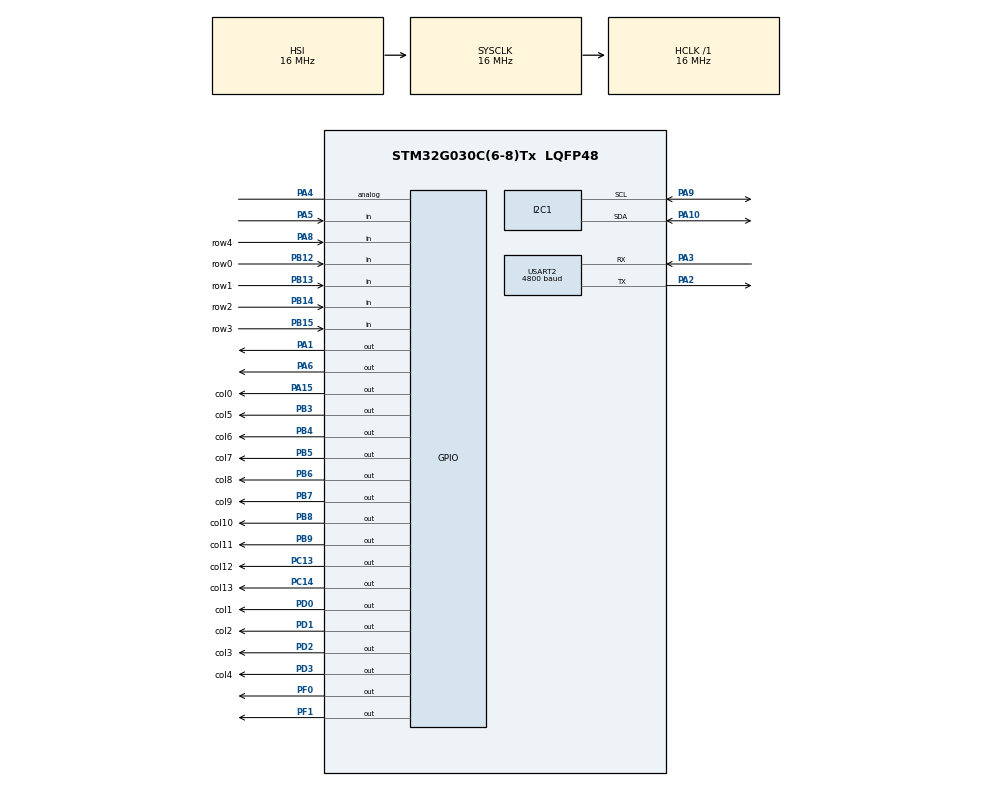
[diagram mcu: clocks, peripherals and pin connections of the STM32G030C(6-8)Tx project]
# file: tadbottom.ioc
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Mcu.Family=STM32G0
Mcu.Name=STM32G030C(6-8)Tx
Mcu.Package=LQFP48
PA1.Signal=GPIO_Output
PA10.GPIO_Pu=GPIO_PULLUP
PA10.Mode=I2C
PA10.Signal=I2C1_SDA
PA13.Mode=Serial_Wire
PA13.Signal=SYS_SWDIO
PA14-BOOT0.Mode=Serial_Wire
PA14-BOOT0.Signal=SYS_SWCLK
PA15.GPIO_Label=col0
PA15.Signal=GPIO_Output
PA2.Mode=Asynchronous
PA2.Signal=USART2_TX
PA3.Mode=Asynchronous
PA3.Signal=USART2_RX
PA4.Signal=GPIO_Analog
PA5.GPIO_PuPd=GPIO_PULLUP
PA5.Signal=GPIO_Input
PA6.Signal=GPIO_Output
PA8.GPIO_Label=row4
PA8.GPIO_PuPd=GPIO_PULLDOWN
PA8.Signal=GPIO_Input
PA9.GPIO_Pu=GPIO_PULLUP
PA9.Mode=I2C
PA9.Signal=I2C1_SCL
PB12.GPIO_Label=row0
PB12.GPIO_PuPd=GPIO_PULLDOWN
PB12.Signal=GPIO_Input
PB13.GPIO_Label=row1
PB13.GPIO_PuPd=GPIO_PULLDOWN
PB13.Signal=GPIO_Input
PB14.GPIO_Label=row2
PB14.GPIO_PuPd=GPIO_PULLDOWN
PB14.Signal=GPIO_Input
PB15.GPIO_Label=row3
PB15.GPIO_PuPd=GPIO_PULLDOWN
PB15.Signal=GPIO_Input
PB3.GPIO_Label=col5
PB3.Signal=GPIO_Output
PB4.GPIO_Label=col6
PB4.Signal=GPIO_Output
PB5.GPIO_Label=col7
PB5.Signal=GPIO_Output
PB6.GPIO_Label=col8
PB6.Signal=GPIO_Output
PB7.GPIO_Label=col9
PB7.Signal=GPIO_Output
PB8.GPIO_Label=col10
PB8.Signal=GPIO_Output
PB9.GPIO_Label=col11
PB9.Signal=GPIO_Output
PC13.GPIO_Label=col12
PC13.Signal=GPIO_Output
PC14-OSC32_IN\ (PC14).GPIO_Label=col13
PC14-OSC32_IN\ (PC14).Signal=GPIO_Output
PD0.GPIO_Label=col1
PD0.Signal=GPIO_Output
PD1.GPIO_Label=col2
PD1.Signal=GPIO_Output
PD2.GPIO_Label=col3
PD2.Signal=GPIO_Output
PD3.GPIO_Label=col4
PD3.Signal=GPIO_Output
PF0-OSC_IN\ (PF0).Signal=GPIO_Output
PF1-OSC_OUT\ (PF1).Signal=GPIO_Output
ProjectManager.HeapSize=0x200
ProjectManager.StackSize=0x400
ProjectManager.TargetToolchain=STM32CubeIDE
RCC.AHBFreq_Value=16000000
RCC.CortexFreq_Value=16000000
RCC.EXTERNAL_CLOCK_VALUE=12288000
RCC.HCLKFreq_Value=16000000
RCC.HSE_VALUE=8000000
RCC.HSI_VALUE=16000000
RCC.LSE_VALUE=32768
RCC.SYSCLKFreq_VALUE=16000000
RCC.VCOOutputFreq_Value=128000000
TIM1.Prescaler=0
USART2.BaudRate=4800
USART2.SwapParam=ADVFEATURE_SWAP_DISABLE
USART2.VirtualMode-Asynchronous=VM_ASYNC
VP_TIM1_VS_ClockSourceINT.Mode=Internal
board=custom

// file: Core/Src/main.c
/* USER CODE BEGIN Header */
/**
  ******************************************************************************
  * @file           : main.c
  * @brief          : Main program body
  ******************************************************************************
  * @attention
  *
  * <h2><center>&copy; Copyright (c) 2021 STMicroelectronics.
  * All rights reserved.</center></h2>
  *
  * This software component is licensed by ST under BSD 3-Clause license,
  * the "License"; You may not use this file except in compliance with the
  * License. You may obtain a copy of the License at:
  *                        opensource.org/licenses/BSD-3-Clause
  *
  ******************************************************************************
  */
/* USER CODE END Header */
#include "main.h"

/* USER CODE BEGIN Includes */
#include <stdio.h>
#include <string.h>
#include <math.h>
/* USER CODE END Includes */

/* USER CODE BEGIN PD */
#define kbcols 14
#define kbrows 5

#define BYTE_TO_BINARY_PATTERN "%c%c%c%c%c%c%c%c"
#define BYTE_TO_BINARY(byte)  \
  (byte & 0x80 ? '1' : '0'), \
  (byte & 0x40 ? '1' : '0'), \
  (byte & 0x20 ? '1' : '0'), \
  (byte & 0x10 ? '1' : '0'), \
  (byte & 0x08 ? '1' : '0'), \
  (byte & 0x04 ? '1' : '0'), \
  (byte & 0x02 ? '1' : '0'), \
  (byte & 0x01 ? '1' : '0')
/* USER CODE END PD */

 I2C_HandleTypeDef hi2c1;

TIM_HandleTypeDef htim1;

UART_HandleTypeDef huart2;

/* USER CODE BEGIN PV */
uint16_t kb_col[kbcols]={col0_Pin,col1_Pin,col2_Pin,col3_Pin,col4_Pin,col5_Pin,col6_Pin,col7_Pin,col8_Pin,col9_Pin,col10_Pin,col11_Pin,col12_Pin,col13_Pin};
GPIO_TypeDef* kb_col_port[kbcols]={col0_GPIO_Port,col1_GPIO_Port,col2_GPIO_Port,col3_GPIO_Port,col4_GPIO_Port,col5_GPIO_Port,col6_GPIO_Port,col7_GPIO_Port,col8_GPIO_Port,col9_GPIO_Port,col10_GPIO_Port,col11_GPIO_Port,col12_GPIO_Port,col13_GPIO_Port};
uint16_t kb_row[kbrows]={row0_Pin,row1_Pin,row2_Pin,row3_Pin,row4_Pin};
GPIO_TypeDef* kb_row_port[kbrows]={row0_GPIO_Port,row1_GPIO_Port,row2_GPIO_Port,row3_GPIO_Port,row4_GPIO_Port};

uint8_t kb_state[kbcols][kbrows] = {0};
uint8_t kb_laststate[kbcols][kbrows] = {0};
uint8_t kb_pushed[kbcols][kbrows] = {0};
uint8_t kb_released[kbcols][kbrows] = {0};
/* USER CODE END PV */

void SystemClock_Config(void);
static void MX_GPIO_Init(void);
static void MX_TIM1_Init(void);
static void MX_I2C1_Init(void);
static void MX_USART2_UART_Init(void);
/* USER CODE BEGIN PFP */
void print_adc();
/* USER CODE END PFP */

/* USER CODE BEGIN 0 */
void delay_us (uint16_t us)
{
	__HAL_TIM_SET_COUNTER(&htim1,0);  // set the counter value a 0
	while (__HAL_TIM_GET_COUNTER(&htim1) < us);  // wait for the counter to reach the us input in the parameter
}

void read_keys(int report){
	int i = 0;
	uint8_t MSG[16];
	while(i<kbcols){
		int j = 0;
		HAL_GPIO_WritePin(kb_col_port[i], kb_col[i], 1);
		while(j<kbrows){
			kb_laststate[i][j] = kb_state[i][j];
			kb_state[i][j] = HAL_GPIO_ReadPin(kb_row_port[j], kb_row[j]);
			if(kb_laststate[i][j] != kb_state[i][j] && kb_state[i][j]==1) {
				kb_pushed[i][j]=1;
				memset(MSG, 0, sizeof(MSG));
				int msglength;
				sprintf(MSG, "1 %d 1\r\n%n", i+kbcols*j, &msglength);
				if (report) HAL_UART_Transmit(&huart2, MSG, msglength*sizeof(char), 100);
			}
			else kb_pushed[i][j]=0;
			if(kb_laststate[i][j] != kb_state[i][j] && kb_state[i][j]==0) {
							kb_released[i][j]=1;
							memset(MSG, 0, sizeof(MSG));
							int msglength;
							sprintf(MSG, "1 %d 0\r\n%n", i+kbcols*j, &msglength);
							if (report) HAL_UART_Transmit(&huart2, MSG, msglength*sizeof(char), 100);
						}
			else kb_released[i][j]=0;
			j++;
		}
		HAL_GPIO_WritePin(kb_col_port[i], kb_col[i], 0);
		i++;
	};

}

void print_adc(){
	uint8_t writer= 0b10010000;
	HAL_I2C_Mem_Write(&hi2c1,75<<1,0x3,I2C_MEMADD_SIZE_8BIT,&writer,1,0xFFF);
	uint8_t MSG[128] = {"\e[3J\033c\e[1;34mADC READS:\e[0m\r\n\n\n\n\n"};
	HAL_UART_Transmit(&huart2, MSG, sizeof(MSG), 100);
	int adresses_ADC[6]={0xe, 0xF, 0x10, 0x11, 0x12, 0x13};
	float resolution_ADC[6]={255, 255, 255, 128, 255, 255};
	float maxvalue_ADC[6]={5.1, 5.1, 100, 7.62, 5.66, 3.39};
	char *descriptions_ADC[6]={"BatV","SysV","NTCV","InpV","ChgA","InpA"};
	int i = 0;
	uint8_t reader;
	while(i<6){
		memset(MSG, 0, sizeof(MSG));
		HAL_I2C_Mem_Read(&hi2c1, 75<<1, adresses_ADC[i], I2C_MEMADD_SIZE_8BIT, &reader, 1, 0xFFF);
		float input = reader;
		float temp1 = input/resolution_ADC[i];
		float output = temp1*maxvalue_ADC[i];
		sprintf(MSG, "\r\n%s: %5.3f\r\n", descriptions_ADC[i], output);
		HAL_UART_Transmit(&huart2, MSG, sizeof(MSG), 100);
		i++;
	}
	HAL_Delay(1000);
}

void edit_mpreg(){
	uint8_t MSG[128];
	HAL_GPIO_WritePin(GPIOA, GPIO_PIN_6, 1);
	HAL_Delay(150);
	HAL_GPIO_WritePin(GPIOA, GPIO_PIN_6, 0);
	int i = 0;
	uint8_t reader;
	//breakpoint here, edit i to select register to edit/view
	memset(MSG, 0, sizeof(MSG));
	HAL_I2C_Mem_Read(&hi2c1, 75<<1, i, I2C_MEMADD_SIZE_8BIT, &reader, 1, 0xFFF);
	sprintf(MSG, "%d read as: "BYTE_TO_BINARY_PATTERN"\r\n",i, BYTE_TO_BINARY(reader));
	HAL_UART_Transmit(&huart2, MSG, sizeof(MSG), 100);
	//breakpoint here, edit reader to desired value
	sprintf(MSG, "%d changed to: "BYTE_TO_BINARY_PATTERN"\r\n",i, BYTE_TO_BINARY(reader));
	HAL_UART_Transmit(&huart2, MSG, sizeof(MSG), 100);
	HAL_I2C_Mem_Write(&hi2c1,75<<1,i,I2C_MEMADD_SIZE_8BIT,&reader,1,0xFFF);
	HAL_I2C_Mem_Read(&hi2c1, 75<<1, i, I2C_MEMADD_SIZE_8BIT, &reader, 1, 0xFFF);
	sprintf(MSG, "%d confirm: "BYTE_TO_BINARY_PATTERN"\r\n",i, BYTE_TO_BINARY(reader));
	HAL_UART_Transmit(&huart2, MSG, sizeof(MSG), 100);
}
/* USER CODE END 0 */

int main(void)
{

  /* MCU Configuration--------------------------------------------------------*/

  /* Reset of all peripherals, Initializes the Flash interface and the Systick. */
  HAL_Init();

  /* Configure the system clock */
  SystemClock_Config();

  /* Initialize all configured peripherals */
  MX_GPIO_Init();
  MX_TIM1_Init();
  MX_I2C1_Init();
  MX_USART2_UART_Init();
  /* USER CODE BEGIN 2 */

  HAL_TIM_Base_Start(&htim1);
  /* USER CODE END 2 */

  /* Infinite loop */
  /* USER CODE BEGIN WHILE */

  //HAL_I2C_Mem_Read(&hi2c1, 75<<1, 0x00, I2C_MEMADD_SIZE_8BIT,&reader, 1, 0xFFF);
  uint8_t writer= 0b11111110;
  HAL_I2C_Mem_Write(&hi2c1,75<<1,0x7,I2C_MEMADD_SIZE_8BIT,&writer,1,0xFFF);
  writer= 0b01001000;
  HAL_I2C_Mem_Write(&hi2c1,75<<1,0x0,I2C_MEMADD_SIZE_8BIT,&writer,1,0xFFF);
  HAL_GPIO_WritePin(GPIOF, GPIO_PIN_1, 1);
  HAL_GPIO_WritePin(GPIOF, GPIO_PIN_0, 1);
  HAL_GPIO_WritePin(GPIOA, GPIO_PIN_1, 0);
  uint8_t MSG[64] = {"\r\nWelcome to TAD DEBUG\r\n\n\n\n\n"};
  HAL_UART_Transmit(&huart2, MSG, sizeof(MSG), 100);
  int globalstate = 3;
  int report_state = 1;
  while (1)
  {
	  read_keys(report_state);
	  if(kb_pushed[0][0] && kb_state[13][4]) globalstate=0;
	  if(kb_pushed[0][1] && kb_state[13][4]) globalstate=1;
	  if(kb_pushed[0][2] && kb_state[13][4]) globalstate=2;
	  if(kb_pushed[0][3] && kb_state[13][4]) globalstate=3;
	  if(kb_pushed[0][4] && kb_state[13][4]) globalstate=4;
	  switch (globalstate){
	  case 0:
		  print_adc();
		  break;
	  case 1:
		  edit_mpreg();
		  break;
	  case 2:
		  if (!report_state) report_state = 1;
		  else report_state = 0;
		  globalstate = 3;
		  break;
	  case 3:
		  break;
	  case 4:
		  HAL_UART_Transmit(&huart2, "list\n", sizeof("list\n"), 100);
		  globalstate = 3;
	  	  break;
	  }
	  //}
    /* USER CODE END WHILE */

  }
}

void SystemClock_Config(void)
{
  RCC_OscInitTypeDef RCC_OscInitStruct = {0};
  RCC_ClkInitTypeDef RCC_ClkInitStruct = {0};

  /** Configure the main internal regulator output voltage
  */
  HAL_PWREx_ControlVoltageScaling(PWR_REGULATOR_VOLTAGE_SCALE1);

  /** Initializes the RCC Oscillators according to the specified parameters
  * in the RCC_OscInitTypeDef structure.
  */
  RCC_OscInitStruct.OscillatorType = RCC_OSCILLATORTYPE_HSI;
  RCC_OscInitStruct.HSIState = RCC_HSI_ON;
  RCC_OscInitStruct.HSIDiv = RCC_HSI_DIV1;
  RCC_OscInitStruct.HSICalibrationValue = RCC_HSICALIBRATION_DEFAULT;
  RCC_OscInitStruct.PLL.PLLState = RCC_PLL_NONE;
  if (HAL_RCC_OscConfig(&RCC_OscInitStruct) != HAL_OK)
  {
    Error_Handler();
  }

  /** Initializes the CPU, AHB and APB buses clocks
  */
  RCC_ClkInitStruct.ClockType = RCC_CLOCKTYPE_HCLK|RCC_CLOCKTYPE_SYSCLK
                              |RCC_CLOCKTYPE_PCLK1;
  RCC_ClkInitStruct.SYSCLKSource = RCC_SYSCLKSOURCE_HSI;
  RCC_ClkInitStruct.AHBCLKDivider = RCC_SYSCLK_DIV1;
  RCC_ClkInitStruct.APB1CLKDivider = RCC_HCLK_DIV1;

  if (HAL_RCC_ClockConfig(&RCC_ClkInitStruct, FLASH_LATENCY_0) != HAL_OK)
  {
    Error_Handler();
  }
}

static void MX_I2C1_Init(void)
{

  hi2c1.Instance = I2C1;
  hi2c1.Init.Timing = 0x00303D5B;
  hi2c1.Init.OwnAddress1 = 0;
  hi2c1.Init.AddressingMode = I2C_ADDRESSINGMODE_7BIT;
  hi2c1.Init.DualAddressMode = I2C_DUALADDRESS_DISABLE;
  hi2c1.Init.OwnAddress2 = 0;
  hi2c1.Init.OwnAddress2Masks = I2C_OA2_NOMASK;
  hi2c1.Init.GeneralCallMode = I2C_GENERALCALL_DISABLE;
  hi2c1.Init.NoStretchMode = I2C_NOSTRETCH_DISABLE;
  if (HAL_I2C_Init(&hi2c1) != HAL_OK)
  {
    Error_Handler();
  }

  /** Configure Analogue filter
  */
  if (HAL_I2CEx_ConfigAnalogFilter(&hi2c1, I2C_ANALOGFILTER_ENABLE) != HAL_OK)
  {
    Error_Handler();
  }

  /** Configure Digital filter
  */
  if (HAL_I2CEx_ConfigDigitalFilter(&hi2c1, 0) != HAL_OK)
  {
    Error_Handler();
  }

}

static void MX_TIM1_Init(void)
{

  TIM_ClockConfigTypeDef sClockSourceConfig = {0};
  TIM_MasterConfigTypeDef sMasterConfig = {0};

  htim1.Instance = TIM1;
  htim1.Init.Prescaler = 0;
  htim1.Init.CounterMode = TIM_COUNTERMODE_UP;
  htim1.Init.Period = 65535;
  htim1.Init.ClockDivision = TIM_CLOCKDIVISION_DIV1;
  htim1.Init.RepetitionCounter = 0;
  htim1.Init.AutoReloadPreload = TIM_AUTORELOAD_PRELOAD_DISABLE;
  if (HAL_TIM_Base_Init(&htim1) != HAL_OK)
  {
    Error_Handler();
  }
  sClockSourceConfig.ClockSource = TIM_CLOCKSOURCE_INTERNAL;
  if (HAL_TIM_ConfigClockSource(&htim1, &sClockSourceConfig) != HAL_OK)
  {
    Error_Handler();
  }
  sMasterConfig.MasterOutputTrigger = TIM_TRGO_RESET;
  sMasterConfig.MasterOutputTrigger2 = TIM_TRGO2_RESET;
  sMasterConfig.MasterSlaveMode = TIM_MASTERSLAVEMODE_DISABLE;
  if (HAL_TIMEx_MasterConfigSynchronization(&htim1, &sMasterConfig) != HAL_OK)
  {
    Error_Handler();
  }

}

static void MX_USART2_UART_Init(void)
{

  huart2.Instance = USART2;
  huart2.Init.BaudRate = 4800;
  huart2.Init.WordLength = UART_WORDLENGTH_8B;
  huart2.Init.StopBits = UART_STOPBITS_1;
  huart2.Init.Parity = UART_PARITY_NONE;
  huart2.Init.Mode = UART_MODE_TX_RX;
  huart2.Init.HwFlowCtl = UART_HWCONTROL_NONE;
  huart2.Init.OverSampling = UART_OVERSAMPLING_16;
  huart2.Init.OneBitSampling = UART_ONE_BIT_SAMPLE_DISABLE;
  huart2.Init.ClockPrescaler = UART_PRESCALER_DIV1;
  huart2.AdvancedInit.AdvFeatureInit = UART_ADVFEATURE_NO_INIT;
  if (HAL_UART_Init(&huart2) != HAL_OK)
  {
    Error_Handler();
  }

}

static void MX_GPIO_Init(void)
{
  GPIO_InitTypeDef GPIO_InitStruct = {0};

  /* GPIO Ports Clock Enable */
  __HAL_RCC_GPIOC_CLK_ENABLE();
  __HAL_RCC_GPIOF_CLK_ENABLE();
  __HAL_RCC_GPIOA_CLK_ENABLE();
  __HAL_RCC_GPIOB_CLK_ENABLE();
  __HAL_RCC_GPIOD_CLK_ENABLE();

  /*Configure GPIO pin Output Level */
  HAL_GPIO_WritePin(GPIOC, col12_Pin|col13_Pin, GPIO_PIN_RESET);

  /*Configure GPIO pin Output Level */
  HAL_GPIO_WritePin(GPIOF, GPIO_PIN_0|GPIO_PIN_1, GPIO_PIN_RESET);

  /*Configure GPIO pin Output Level */
  HAL_GPIO_WritePin(GPIOA, GPIO_PIN_1|GPIO_PIN_6|col0_Pin, GPIO_PIN_RESET);

  /*Configure GPIO pin Output Level */
  HAL_GPIO_WritePin(GPIOD, col1_Pin|col2_Pin|col3_Pin|col4_Pin, GPIO_PIN_RESET);

  /*Configure GPIO pin Output Level */
  HAL_GPIO_WritePin(GPIOB, col5_Pin|col6_Pin|col7_Pin|col8_Pin
                          |col9_Pin|col10_Pin|col11_Pin, GPIO_PIN_RESET);

  /*Configure GPIO pins : col12_Pin col13_Pin */
  GPIO_InitStruct.Pin = col12_Pin|col13_Pin;
  GPIO_InitStruct.Mode = GPIO_MODE_OUTPUT_PP;
  GPIO_InitStruct.Pull = GPIO_NOPULL;
  GPIO_InitStruct.Speed = GPIO_SPEED_FREQ_LOW;
  HAL_GPIO_Init(GPIOC, &GPIO_InitStruct);

  /*Configure GPIO pins : PF0 PF1 */
  GPIO_InitStruct.Pin = GPIO_PIN_0|GPIO_PIN_1;
  GPIO_InitStruct.Mode = GPIO_MODE_OUTPUT_PP;
  GPIO_InitStruct.Pull = GPIO_NOPULL;
  GPIO_InitStruct.Speed = GPIO_SPEED_FREQ_LOW;
  HAL_GPIO_Init(GPIOF, &GPIO_InitStruct);

  /*Configure GPIO pins : PA1 PA6 col0_Pin */
  GPIO_InitStruct.Pin = GPIO_PIN_1|GPIO_PIN_6|col0_Pin;
  GPIO_InitStruct.Mode = GPIO_MODE_OUTPUT_PP;
  GPIO_InitStruct.Pull = GPIO_NOPULL;
  GPIO_InitStruct.Speed = GPIO_SPEED_FREQ_LOW;
  HAL_GPIO_Init(GPIOA, &GPIO_InitStruct);

  /*Configure GPIO pin : PA4 */
  GPIO_InitStruct.Pin = GPIO_PIN_4;
  GPIO_InitStruct.Mode = GPIO_MODE_ANALOG;
  GPIO_InitStruct.Pull = GPIO_NOPULL;
  HAL_GPIO_Init(GPIOA, &GPIO_InitStruct);

  /*Configure GPIO pin : PA5 */
  GPIO_InitStruct.Pin = GPIO_PIN_5;
  GPIO_InitStruct.Mode = GPIO_MODE_INPUT;
  GPIO_InitStruct.Pull = GPIO_PULLUP;
  HAL_GPIO_Init(GPIOA, &GPIO_InitStruct);

  /*Configure GPIO pins : row0_Pin row1_Pin row2_Pin row3_Pin */
  GPIO_InitStruct.Pin = row0_Pin|row1_Pin|row2_Pin|row3_Pin;
  GPIO_InitStruct.Mode = GPIO_MODE_INPUT;
  GPIO_InitStruct.Pull = GPIO_PULLDOWN;
  HAL_GPIO_Init(GPIOB, &GPIO_InitStruct);

  /*Configure GPIO pin : row4_Pin */
  GPIO_InitStruct.Pin = row4_Pin;
  GPIO_InitStruct.Mode = GPIO_MODE_INPUT;
  GPIO_InitStruct.Pull = GPIO_PULLDOWN;
  HAL_GPIO_Init(row4_GPIO_Port, &GPIO_InitStruct);

  /*Configure GPIO pins : col1_Pin col2_Pin col3_Pin col4_Pin */
  GPIO_InitStruct.Pin = col1_Pin|col2_Pin|col3_Pin|col4_Pin;
  GPIO_InitStruct.Mode = GPIO_MODE_OUTPUT_PP;
  GPIO_InitStruct.Pull = GPIO_NOPULL;
  GPIO_InitStruct.Speed = GPIO_SPEED_FREQ_LOW;
  HAL_GPIO_Init(GPIOD, &GPIO_InitStruct);

  /*Configure GPIO pins : col5_Pin col6_Pin col7_Pin col8_Pin
                           col9_Pin col10_Pin col11_Pin */
  GPIO_InitStruct.Pin = col5_Pin|col6_Pin|col7_Pin|col8_Pin
                          |col9_Pin|col10_Pin|col11_Pin;
  GPIO_InitStruct.Mode = GPIO_MODE_OUTPUT_PP;
  GPIO_InitStruct.Pull = GPIO_NOPULL;
  GPIO_InitStruct.Speed = GPIO_SPEED_FREQ_LOW;
  HAL_GPIO_Init(GPIOB, &GPIO_InitStruct);

}

void Error_Handler(void)
{
  __disable_irq();
  while (1)
  {
  }
}
